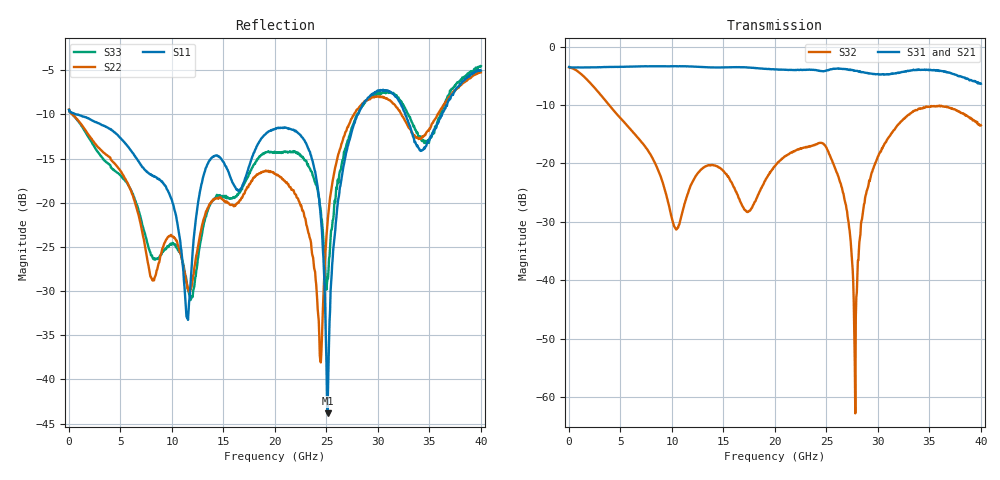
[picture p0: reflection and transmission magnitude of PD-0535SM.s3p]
! MARKI MICROWAVE INC.
! Email:  support@markimicrowave.com  Phone:  408-778-4200
! Model Number:  PD0535SM  Date:  09/13
! Filename:		PD-0535SM.S3P  Version: 1.1
! Description:  3-port S-parameter data for Power Divider PD-0535SM
! Frequency Range: 	10 MHz to 40 GHz
! Port Configuration:	PORT 1: COMMON, PORT 2 and Port 3: Output
! S3P File: Measurements: Mag<S11> Ang<S11> Mag<S12> Ang<S12> Mag<S13> Ang<S13>! row 1
!  Mag<S21> Ang<S21> Mag<S22> Ang<S22> Mag<S23> Ang<S23>! row 2
!  Mag<S31> Ang<S31> Mag<S32> Ang<S32> Mag<S33> Ang<S33>! row 3
# Hz S  dB  R 50
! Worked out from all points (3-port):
!   801 points, 10 MHz to 40 GHz, reference 50 ohm
!   strongest paths, dB at 10 MHz, 10.01 GHz, 20 GHz, 30 GHz, 40 GHz:
!     S31: -3.5, -3.4, -3.9, -4.7, -6.4
!     S21: -3.6, -3.4, -3.9, -4.9, -5.8
!     S32: -3.6, -29.5, -20.5, -18.8, -13.5
!   lowest |S11| = -43.8 dB at 25.1 GHz (marker M1), VSWR 1.01, Z = 50.6 - j0.144 ohm
!   |S11| at or under -10 dB: 676.4 MHz to 28.06 GHz (27.39 GHz wide, 191 % of centre); 32.65 GHz to 36.23 GHz (3.579 GHz wide, 10.4 % of centre)
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1e7  -9.50 174.0  -3.56 -0.2  -3.53 -0.1
     -3.59 -0.1  -9.46 173.1  -3.65 -0.8
     -3.49 0.0  -3.55 -0.2  -9.53 172.7
6.108475e9  -14.27 90.9  -3.50 -89.8  -3.41 -87.4
            -3.50 -89.8  -18.98 -24.1  -14.44 -121.1
            -3.42 -87.3  -14.43 -121.0  -18.80 -28.1
1.165709e10  -31.35 -164.4  -3.43 -174.8  -3.39 -169.9
             -3.43 -174.7  -30.09 -163.6  -24.52 -8.9
             -3.40 -169.7  -24.51 -8.6  -30.33 177.4
1.345664e10  -15.65 -139.2  -3.56 157.6  -3.54 163.5
             -3.56 157.7  -20.62 -100.2  -20.35 -63.1
             -3.54 163.6  -20.35 -62.9  -20.96 -95.3
2.0005e10  -11.68 5.6  -3.91 56.2  -3.92 65.2
           -3.91 56.3  -16.74 -50.9  -20.49 -74.0
           -3.90 65.3  -20.47 -73.9  -14.33 -43.1
2.380405e10  -16.01 -71.5  -4.01 -2.4  -4.01 8.3
             -4.02 -2.4  -27.39 -83.5  -16.89 -128.8
             -3.99 8.4  -16.85 -128.7  -17.36 -61.4
2.510372e10  -43.84 -12.7  -4.04 -21.3  -4.09 -9.4
             -4.05 -21.3  -22.40 45.5  -17.70 -167.0
             -4.07 -9.3  -17.71 -167.0  -28.59 1.1
2.780305e10  -10.63 36.8  -4.26 -67.8  -4.16 -55.4
             -4.26 -67.8  -9.79 15.1  -53.28 -93.8
             -4.14 -55.3  -62.81 -64.8  -10.52 19.9
3.085229e10  -7.34 -9.5  -4.82 -112.0  -4.73 -99.0
             -4.82 -112.0  -8.17 -7.1  -16.09 -90.1
             -4.70 -98.8  -16.05 -90.6  -7.51 1.1
4e10  -5.05 -17.9  -5.82 89.5  -6.36 106.4
      -5.81 89.9  -5.25 9.6  -13.53 128.0
      -6.35 106.4  -13.47 127.4  -4.55 29.5
